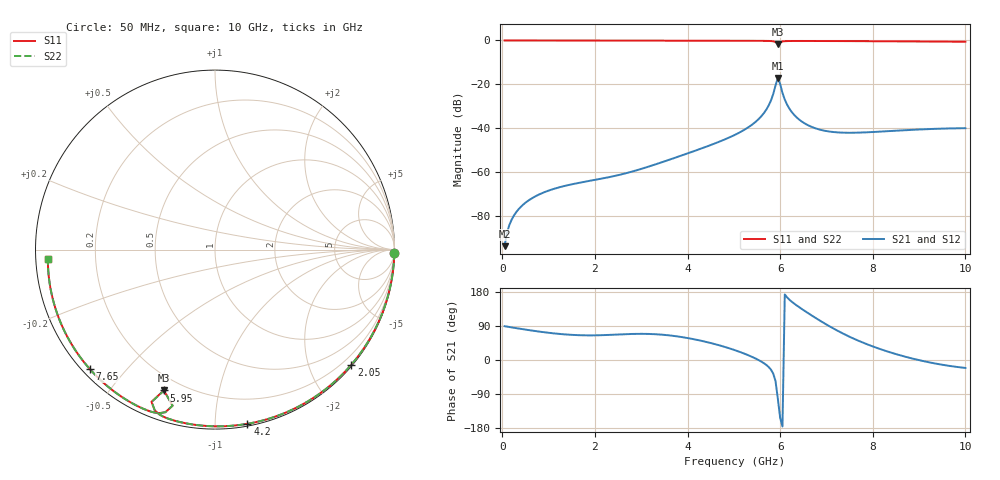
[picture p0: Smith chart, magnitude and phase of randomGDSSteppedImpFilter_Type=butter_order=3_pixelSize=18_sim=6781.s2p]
! freq	dB(S11)	phase(S11)	dB(S12)	phase(S12)
!  dB(S21)	phase(S21)	dB(S22)	phase(S22)
!S-par simulation data
#  GHz  S  DB  R 50
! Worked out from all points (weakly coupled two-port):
!   200 points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, 50 MHz to 10 GHz, reference 50 ohm
!   highest |S21| = -17.14 dB at 5.95 GHz (marker M1); lowest = -93.9 dB at 50 MHz (marker M2)
!   lowest |S11| = -1.6 dB at 5.95 GHz (marker M3), VSWR 11.09, Z = 6.7 - j34.6 ohm
!   |S11| at or under -10 dB: nowhere
!   |S22| runs from -1.6 to 0.0 dB; largest |S21 - S12| = 0
!   S11 on the Smith chart (normalised r, x): 50 MHz: open; 2.05 GHz: 0.03, -2.74; 4.2 GHz: 0.02, -1.20; 5.95 GHz: 0.13, -0.69; 7.65 GHz: 0.02, -0.40; 10 GHz: 0.03, -0.03
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0.05  -0.01 -1.0  -93.91 89.2  -93.91 89.2  -0.01 -1.0
0.25  -0.01 -5.0  -79.97 85.1  -79.97 85.1  -0.01 -5.0
0.5  -0.01 -9.9  -74.08 80.2  -74.08 80.2  -0.01 -9.9
0.85  -0.02 -16.9  -69.78 74.1  -69.78 74.1  -0.02 -16.9
1.75  -0.04 -34.4  -64.63 65.1  -64.63 65.1  -0.04 -34.4
2.05  -0.05 -40.1  -63.47 65.2  -63.47 65.2  -0.05 -40.1
3.4  -0.09 -65.2  -55.93 67.3  -55.93 67.3  -0.09 -65.1
4.2  -0.11 -79.4  -50.07 53.3  -50.07 53.3  -0.11 -79.4
5.05  -0.15 -94.2  -42.81 24.8  -42.81 24.8  -0.15 -94.2
5.4  -0.17 -100.4  -38.34 7.9  -38.34 7.9  -0.17 -100.4
5.65  -0.20 -105.2  -33.13 -8.5  -33.13 -8.5  -0.20 -105.1
5.8  -0.28 -108.8  -27.49 -25.2  -27.49 -25.2  -0.28 -108.8
5.9  -0.74 -112.6  -20.54 -55.7  -20.54 -55.7  -0.73 -112.6
5.95  -1.57 -109.9  -17.14 -102.1  -17.14 -102.1  -1.56 -109.9
6  -0.91 -105.2  -19.87 -152.7  -19.87 -152.7  -0.90 -105.2
6.1  -0.34 -108.7  -27.00 172.9  -27.00 172.9  -0.34 -108.7
6.25  -0.25 -112.3  -32.65 153.8  -32.65 153.8  -0.25 -112.3
6.7  -0.25 -120.5  -39.63 116.0  -39.63 116.0  -0.25 -120.4
7.1  -0.27 -127.2  -41.69 86.6  -41.69 86.6  -0.27 -127.1
7.65  -0.32 -136.3  -42.11 53.0  -42.11 53.0  -0.32 -136.2
8.35  -0.39 -147.9  -41.39 21.2  -41.39 21.2  -0.39 -147.8
10  -0.61 -176.8  -40.06 -20.9  -40.06 -20.9  -0.60 -176.7
